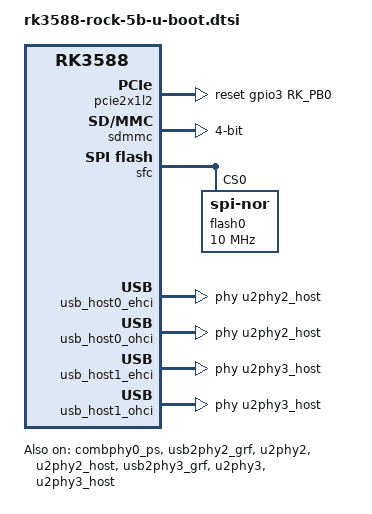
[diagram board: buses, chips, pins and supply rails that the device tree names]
// SPDX-License-Identifier: (GPL-2.0+ OR MIT)
/*
 * Copyright (c) 2023 Collabora Ltd.
 */

#include "rk3588-u-boot.dtsi"
#include <dt-bindings/pinctrl/rockchip.h>
#include <dt-bindings/input/input.h>
#include <dt-bindings/gpio/gpio.h>

/ {
	aliases {
		mmc1 = &sdmmc;
	};

	chosen {
		u-boot,spl-boot-order = "same-as-spl", &sdmmc, &sdhci, &flash0;
	};

};

&combphy0_ps {
	status = "okay";
};

&emmc_bus8 {
	bootph-all;
};

&emmc_clk {
	bootph-all;
};

&emmc_cmd {
	bootph-all;
};

&emmc_data_strobe {
	bootph-all;
};

&emmc_rstnout {
	bootph-all;
};

&fspim2_pins {
	bootph-all;
};

&pcie2x1l2 {
	pinctrl-names = "default";
	pinctrl-0 = <&pcie2x1l2_pins &pcie_reset_h>;
	reset-gpios = <&gpio3 RK_PB0 GPIO_ACTIVE_HIGH>;
	status = "okay";
};

&pcfg_pull_none {
	bootph-all;
};

&pcfg_pull_up_drv_level_2 {
	bootph-all;
};

&pcfg_pull_up {
	bootph-all;
};

&sdmmc {
	bus-width = <4>;
	status = "okay";
};

&sdmmc_bus4 {
	bootph-all;
};

&sdmmc_clk {
	bootph-all;
};

&sdmmc_cmd {
	bootph-all;
};

&sdmmc_det {
	bootph-all;
};

&sdhci {
	cap-mmc-highspeed;
	mmc-ddr-1_8v;
	mmc-hs200-1_8v;
	pinctrl-names = "default";
	pinctrl-0 = <&emmc_bus8 &emmc_clk &emmc_cmd &emmc_data_strobe &emmc_rstnout>;
};

&sfc {
	bootph-all;
	pinctrl-0 = <&fspim2_pins>;
	pinctrl-names = "default";
	status = "okay";

	flash0: flash@0 {
		bootph-all;
		compatible = "jedec,spi-nor";
		reg = <0>;
		spi-max-frequency = <10000000>;
		spi-rx-bus-width = <4>;
		spi-tx-bus-width = <1>;
	};
};

&usb_host0_ehci {
	companion = <&usb_host0_ohci>;
	phys = <&u2phy2_host>;
	phy-names = "usb2-phy";
	status = "okay";
};

&usb_host0_ohci {
	phys = <&u2phy2_host>;
	phy-names = "usb2-phy";
	status = "okay";
};

&usb2phy2_grf {
	status = "okay";
};

&u2phy2 {
	resets = <&cru SRST_OTGPHY_U2_0>, <&cru SRST_P_USB2PHY_U2_0_GRF0>;
	reset-names = "phy", "apb";
	clock-output-names = "usb480m_phy2";
	status = "okay";
};

&u2phy2_host {
	phy-supply = <&vcc5v0_host>;
	status = "okay";
};

&usb_host1_ehci {
	companion = <&usb_host1_ohci>;
	phys = <&u2phy3_host>;
	phy-names = "usb2-phy";
	status = "okay";
};

&usb_host1_ohci {
	phys = <&u2phy3_host>;
	phy-names = "usb2-phy";
	status = "okay";
};

&usb2phy3_grf {
	status = "okay";
};

&u2phy3 {
	resets = <&cru SRST_OTGPHY_U2_1>, <&cru SRST_P_USB2PHY_U2_1_GRF0>;
	reset-names = "phy", "apb";
	clock-output-names = "usb480m_phy3";
	status = "okay";
};

&u2phy3_host {
	phy-supply = <&vcc5v0_host>;
	status = "okay";
};

&sfc {
	bootph-all;
	pinctrl-0 = <&fspim2_pins>;
	pinctrl-names = "default";
	status = "okay";

	flash@0 {
		bootph-all;
		compatible = "jedec,spi-nor";
		reg = <0>;
		spi-max-frequency = <10000000>;
		spi-rx-bus-width = <4>;
		spi-tx-bus-width = <1>;
	};
};
